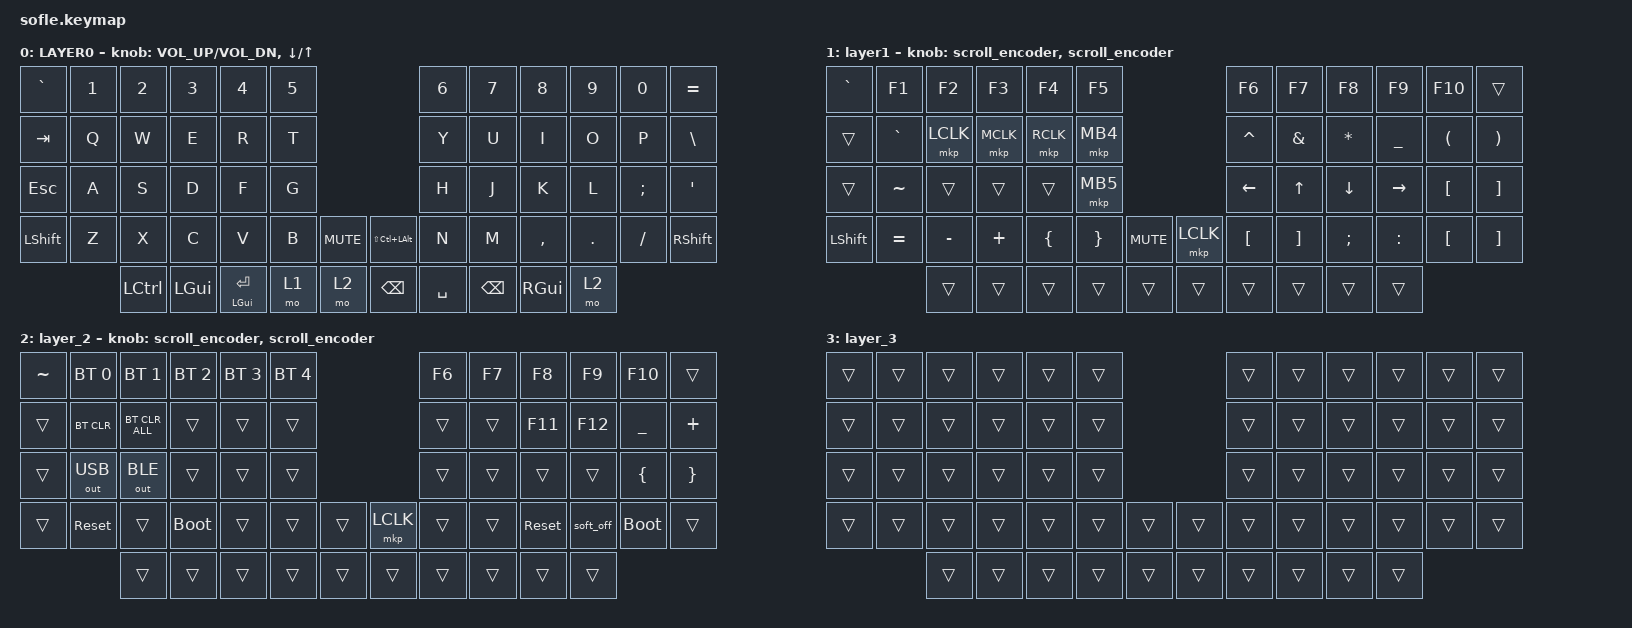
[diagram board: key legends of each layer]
/*
 * Sofle MX keymap, ported from the Eyelash Sofle keymap in
 * bprotas/zmk-sofle (config/eyelash_sofle.keymap).
 *
 * The 6x4 main grid, the five thumb keys per side and the left encoder are
 * the same on both boards and carry the same bindings.
 *
 * The boards differ in the middle:
 *   - Eyelash Sofle: left encoder + 5-way joystick on the right half
 *   - Sofle MX:      left encoder + right encoder
 * The joystick's centre press is mapped to the right encoder press, and its
 * up/down direction to the right encoder rotation (Up/Down arrows on the base
 * layer, scrolling on layers 1 and 2 where the joystick moves the mouse).
 * The joystick's left/right direction has no equivalent on this board.
 *
 * One deliberate difference: the key left of A sends Escape here. The Eyelash
 * repo has Caps Lock there, but Escape is what that key does in day-to-day use.
 */

#define ZMK_POINTING_DEFAULT_MOVE_VAL 1200  // 600
#define ZMK_POINTING_DEFAULT_SCRL_VAL 25   // 10

#include <input/processors.dtsi>
#include <zephyr/dt-bindings/input/input-event-codes.h>
#include <behaviors.dtsi>
#include <dt-bindings/zmk/bt.h>
#include <dt-bindings/zmk/ext_power.h>
#include <dt-bindings/zmk/keys.h>
#include <dt-bindings/zmk/pointing.h>
#include <dt-bindings/zmk/rgb.h>
#include <dt-bindings/zmk/outputs.h>

// Encoder resolution for the Sofle MX hardware

&sensors { triggers-per-rotation = <30>; };

&left_encoder { steps = <60>; };

&right_encoder { steps = <60>; };

// Mouse movement / scroll tuning (same as the Eyelash Sofle)

&mmv_input_listener { input-processors = <&zip_xy_scaler 2 1>; };

&msc_input_listener { input-processors = <&zip_scroll_scaler 2 1>; };

&msc {
    acceleration-exponent = <1>;      // 0
    time-to-max-speed-ms = <100>;     // 300
    delay-ms = <0>;                   // 0
};

&mmv {
    time-to-max-speed-ms = <500>;
    acceleration-exponent = <1>;
    trigger-period-ms = <16>;
};

/ {
    scroll_encoder: scroll_encoder {
        compatible = "zmk,behavior-sensor-rotate";
        #sensor-binding-cells = <0>;
        bindings = <&msc SCRL_DOWN>, <&msc SCRL_UP>;
        tap-ms = <100>;
    };

    keymap {
        compatible = "zmk,keymap";

        layer0 {
            // -----------------------------------------------------------------------------------------------------------------
            // |   `   |  1   |  2   |   3   |    4    |  5   |                       |  6   |  7    |  8   |  9   |  0  |   =   |
            // |  TAB  |  Q   |  W   |   E   |    R    |  T   |                       |  Y   |  U    |  I   |  O   |  P  |   \   |
            // |  ESC  |  A   |  S   |   D   |    F   |  G   |                       |  H   |  J    |  K   |  L   |  ;  |   '   |
            // | SHIFT |  Z   |  X   |   C   |    V    |  B   |  MUTE  | |C+S+ALT|   |  N   |  M    |  ,   |  .   |  /  | SHIFT |
            //               | CTRL | GUI  | GUI/RET | MO 1 |  MO 2  | | BKSP  | SPACE | BKSP | GUI  | MO 2 |
            // Encoders: left = volume, right = Up/Down arrows

            bindings = <
&kp GRAVE  &kp N1     &kp N2        &kp N3        &kp N4        &kp N5                                         &kp N6    &kp N7     &kp N8     &kp N9    &kp N0    &kp EQUAL
&kp TAB    &kp Q      &kp W         &kp E         &kp R         &kp T                                          &kp Y     &kp U      &kp I      &kp O     &kp P     &kp BSLH
&kp ESC    &kp A      &kp S         &kp D         &kp F         &kp G                                          &kp H     &kp J      &kp K      &kp L     &kp SEMI  &kp SQT
&kp LSHFT  &kp Z      &kp X         &kp C         &kp V         &kp B      &kp C_MUTE  &kp LS(LC(LALT))        &kp N     &kp M      &kp COMMA  &kp DOT   &kp FSLH  &kp RSHFT
                      &kp LCTRL     &kp LEFT_GUI  &mt LGUI RET  &mo 1      &mo 2       &kp BKSP                &kp SPACE &kp BKSP   &kp RGUI   &mo 2
            >;

            sensor-bindings = <&inc_dec_kp C_VOLUME_UP C_VOL_DN &inc_dec_kp DOWN_ARROW UP_ARROW>;
            display-name = "LAYER0";
        };

        layer_1 {
            // ---------------------------------------------------------------------------------------------------------------
            // |   `   |  F1  |  F2  |  F3  |  F4  |  F5  |                      |  F6  |  F7  |  F8  |  F9  |  F10  |       |
            // |       |  `   | LCLK | MCLK | RCLK | MB4  |                      |  ^   |  &   |  *   |  _   |   (   |   )   |
            // |       |  ~   |      |      |      | MB5  |                      | LEFT |  UP  | DOWN |RIGHT |   [   |   ]   |
            // | SHIFT |  =   |  -   |  +   |  {   |  }   |  MUTE  | |  LCLK  | |  [   |  ]   |  ;   |  :   |   [   |   ]   |
            //                |      |      |      |      |        | |        |        |      |      |      |
            // Encoders: both scroll

            bindings = <
&kp GRAVE   &kp F1     &kp F2     &kp F3     &kp F4     &kp F5                                &kp F6     &kp F7    &kp F8     &kp F9          &kp F10           &trans
&trans      &kp GRAVE  &mkp LCLK  &mkp MCLK  &mkp RCLK  &mkp MB4                              &kp CARET  &kp AMPS  &kp ASTRK  &kp UNDERSCORE  &kp LPAR          &kp RPAR
&trans      &kp TILDE  &trans     &trans     &trans     &mkp MB5                              &kp LEFT   &kp UP    &kp DOWN   &kp RIGHT       &kp LEFT_BRACKET  &kp RIGHT_BRACKET
&kp LSHIFT  &kp EQUAL  &kp MINUS  &kp PLUS   &kp LBRC   &kp RBRC  &kp C_MUTE  &mkp LCLK       &kp LBKT   &kp RBKT  &kp SEMI   &kp COLON       &kp LBKT          &kp RBKT
                       &trans     &trans     &trans     &trans    &trans      &trans          &trans     &trans    &trans     &trans
            >;

            sensor-bindings = <&scroll_encoder &scroll_encoder>;
            display-name = "layer1";
        };

        layer_2 {
            // ----------------------------------------------------------------------------------------------------------------
            // |   ~   |  BT0  |   BT1    | BT2  | BT3  | BT4  |                    |  F6  |  F7  |  F8   |   F9    | F10  |   |
            // |       | BTCLR | BTCLRALL |      |      |      |                    |      |      |  F11  |   F12   |  _   | + |
            // |       |  USB  |   BLE    |      |      |      |                    |      |      |       |         |  {   | } |
            // |       | RESET |          | BOOT |      |      |      | | LCLK |    |      |      | RESET | SOFTOFF | BOOT |   |
            //                 |          |      |      |      |      | |      |    |      |      |       |         |
            // Encoders: both scroll

            bindings = <
&kp TILDE  &bt BT_SEL 0  &bt BT_SEL 1    &bt BT_SEL 2  &bt BT_SEL 3  &bt BT_SEL 4                       &kp F6  &kp F7  &kp F8      &kp F9     &kp F10      &trans
&trans     &bt BT_CLR    &bt BT_CLR_ALL  &trans        &trans        &trans                             &trans  &trans  &kp F11     &kp F12    &kp UNDER    &kp PLUS
&trans     &out OUT_USB  &out OUT_BLE    &trans        &trans        &trans                             &trans  &trans  &trans      &trans     &kp LBRC     &kp RBRC
&trans     &sys_reset    &trans          &bootloader   &trans        &trans        &trans  &mkp LCLK    &trans  &trans  &sys_reset  &soft_off  &bootloader  &trans
                         &trans          &trans        &trans        &trans        &trans  &trans       &trans  &trans  &trans      &trans
            >;

            sensor-bindings = <&scroll_encoder &scroll_encoder>;
        };

        layer_3 {
            bindings = <
&trans  &trans  &trans  &trans  &trans  &trans                  &trans  &trans  &trans  &trans  &trans  &trans
&trans  &trans  &trans  &trans  &trans  &trans                  &trans  &trans  &trans  &trans  &trans  &trans
&trans  &trans  &trans  &trans  &trans  &trans                  &trans  &trans  &trans  &trans  &trans  &trans
&trans  &trans  &trans  &trans  &trans  &trans  &trans  &trans  &trans  &trans  &trans  &trans  &trans  &trans
                &trans  &trans  &trans  &trans  &trans  &trans  &trans  &trans  &trans  &trans
            >;
        };
    };
};
